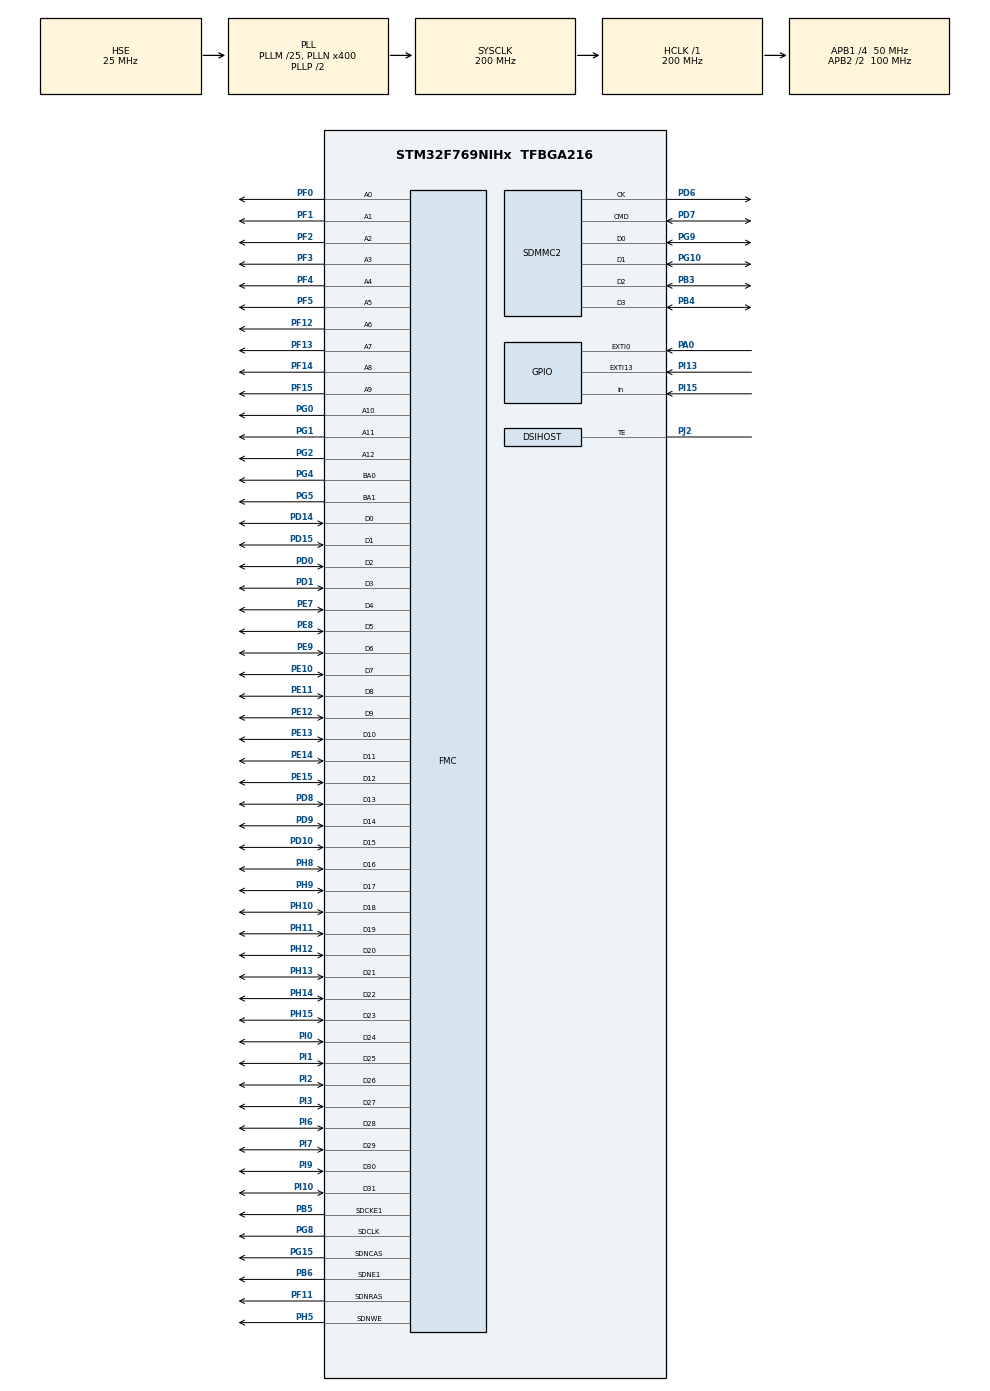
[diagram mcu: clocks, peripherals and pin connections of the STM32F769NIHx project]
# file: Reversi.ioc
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ADC1.Channel-0\#ChannelRegularConversion=ADC_CHANNEL_TEMPSENSOR
ADC1.ClockPrescaler=ADC_CLOCK_SYNC_PCLK_DIV8
ADC1.ContinuousConvMode=ENABLE
ADC1.NbrOfConversionFlag=1
ADC1.Rank-0\#ChannelRegularConversion=1
ADC1.SamplingTime-0\#ChannelRegularConversion=ADC_SAMPLETIME_56CYCLES
ADC1.master=1
CORTEX_M7.CPU_DCache=Enabled
CORTEX_M7.CPU_ICache=Enabled
DSIHOST_CKN.Mode=DSIHost_Adapted_TE
DSIHOST_CKN.Signal=DSIHOST_CKN
DSIHOST_CKP.Mode=DSIHost_Adapted_TE
DSIHOST_CKP.Signal=DSIHOST_CKP
DSIHOST_D0N.Mode=DSIHost_Adapted_TE
DSIHOST_D0N.Signal=DSIHOST_D0N
DSIHOST_D0P.Mode=DSIHost_Adapted_TE
DSIHOST_D0P.Signal=DSIHOST_D0P
DSIHOST_D1N.Mode=DSIHost_Adapted_TE
DSIHOST_D1N.Signal=DSIHOST_D1N
DSIHOST_D1P.Mode=DSIHost_Adapted_TE
DSIHOST_D1P.Signal=DSIHOST_D1P
FATFS.BSP.number=1
FATFS0.BSP.STBoard=false
FATFS0.BSP.api=Unknown
FATFS0.BSP.i2caddr=0
FATFS0.BSP.instance=PI15
FATFS0.BSP.ip=GPIO
FATFS0.BSP.mode=Input
FATFS0.BSP.name=Detect_SDIO
FATFS0.BSP.solution=PI15
Mcu.Family=STM32F7
Mcu.Name=STM32F769NIHx
Mcu.Package=TFBGA216
NVIC.ADC_IRQn=true\:0\:0\:false\:false\:true\:true\:true
NVIC.EXTI0_IRQn=true\:0\:0\:false\:false\:true\:true\:true
NVIC.EXTI15_10_IRQn=true\:0\:0\:false\:false\:true\:true\:true
NVIC.PriorityGroup=NVIC_PRIORITYGROUP_4
NVIC.TIM6_DAC_IRQn=true\:0\:0\:false\:false\:true\:true\:true
NVIC.TIM7_IRQn=true\:0\:0\:false\:false\:true\:true\:true
PA0/WKUP.Signal=GPXTI0
PB3.Mode=SD_4_bits_Wide_bus
PB3.Signal=SDMMC2_D2
PB4.Mode=SD_4_bits_Wide_bus
PB4.Signal=SDMMC2_D3
PB5.Mode=SdramChipSelect2_1
PB5.Signal=FMC_SDCKE1
PB6.Mode=SdramChipSelect2_1
PB6.Signal=FMC_SDNE1
PD0.Signal=FMC_D2_DA2
PD1.Signal=FMC_D3_DA3
PD10.Signal=FMC_D15_DA15
PD14.Signal=FMC_D0_DA0
PD15.Signal=FMC_D1_DA1
PD6.Mode=SD_4_bits_Wide_bus
PD6.Signal=SDMMC2_CK
PD7.Mode=SD_4_bits_Wide_bus
PD7.Signal=SDMMC2_CMD
PD8.Signal=FMC_D13_DA13
PD9.Signal=FMC_D14_DA14
PE10.Signal=FMC_D7_DA7
PE11.Signal=FMC_D8_DA8
PE12.Signal=FMC_D9_DA9
PE13.Signal=FMC_D10_DA10
PE14.Signal=FMC_D11_DA11
PE15.Signal=FMC_D12_DA12
PE7.Signal=FMC_D4_DA4
PE8.Signal=FMC_D5_DA5
PE9.Signal=FMC_D6_DA6
PF0.Signal=FMC_A0
PF1.Signal=FMC_A1
PF11.Signal=FMC_SDNRAS
PF12.Signal=FMC_A6
PF13.Signal=FMC_A7
PF14.Signal=FMC_A8
PF15.Signal=FMC_A9
PF2.Signal=FMC_A2
PF3.Signal=FMC_A3
PF4.Signal=FMC_A4
PF5.Signal=FMC_A5
PG0.Signal=FMC_A10
PG1.Signal=FMC_A11
PG10.Mode=SD_4_bits_Wide_bus
PG10.Signal=SDMMC2_D1
PG15.Signal=FMC_SDNCAS
PG2.Signal=FMC_A12
PG4.Signal=FMC_A14_BA0
PG5.Signal=FMC_A15_BA1
PG8.Signal=FMC_SDCLK
PG9.Mode=SD_4_bits_Wide_bus
PG9.Signal=SDMMC2_D0
PH0/OSC_IN.Mode=HSE-External-Oscillator
PH0/OSC_IN.Signal=RCC_OSC_IN
PH1/OSC_OUT.Mode=HSE-External-Oscillator
PH1/OSC_OUT.Signal=RCC_OSC_OUT
PH10.Signal=FMC_D18
PH11.Signal=FMC_D19
PH12.Signal=FMC_D20
PH13.Signal=FMC_D21
PH14.Signal=FMC_D22
PH15.Signal=FMC_D23
PH5.Signal=FMC_SDNWE
PH8.Signal=FMC_D16
PH9.Signal=FMC_D17
PI0.Signal=FMC_D24
PI1.Signal=FMC_D25
PI10.Signal=FMC_D31
PI13.Signal=GPXTI13
PI15.Signal=GPIO_Input
PI2.Signal=FMC_D26
PI3.Signal=FMC_D27
PI6.Signal=FMC_D28
PI7.Signal=FMC_D29
PI9.Signal=FMC_D30
PJ2.Mode=DSIHost_Adapted_TE
PJ2.Signal=DSIHOST_TE
ProjectManager.HeapSize=0x200
ProjectManager.StackSize=0x400
ProjectManager.TargetToolchain=STM32CubeIDE
RCC.AHBFreq_Value=200000000
RCC.APB1CLKDivider=RCC_HCLK_DIV4
RCC.APB1Freq_Value=50000000
RCC.APB1TimFreq_Value=100000000
RCC.APB2CLKDivider=RCC_HCLK_DIV2
RCC.APB2Freq_Value=100000000
RCC.APB2TimFreq_Value=200000000
RCC.CortexFreq_Value=200000000
RCC.HCLKFreq_Value=200000000
RCC.HSE_VALUE=25000000
RCC.HSI_VALUE=16000000
RCC.LSE_VALUE=32768
RCC.PLLI2SN=96
RCC.PLLM=25
RCC.PLLN=400
RCC.PLLQ=8
RCC.PLLR=7
RCC.PLLSourceVirtual=RCC_PLLSOURCE_HSE
RCC.SDMMC2ClockSelection=RCC_SDMMC2CLKSOURCE_CLK48
RCC.SYSCLKFreq_VALUE=200000000
RCC.SYSCLKSource=RCC_SYSCLKSOURCE_PLLCLK
RCC.USBFreq_Value=50000000
RCC.VCOOutputFreq_Value=400000000
SH.FMC_A0.0=FMC_A0,13b-sda1
SH.FMC_A1.0=FMC_A1,13b-sda1
SH.FMC_A10.0=FMC_A10,13b-sda1
SH.FMC_A11.0=FMC_A11,13b-sda1
SH.FMC_A12.0=FMC_A12,13b-sda1
SH.FMC_A14_BA0.0=FMC_BA0,FourSdramBanks1
SH.FMC_A15_BA1.0=FMC_BA1,FourSdramBanks1
SH.FMC_A2.0=FMC_A2,13b-sda1
SH.FMC_A3.0=FMC_A3,13b-sda1
SH.FMC_A4.0=FMC_A4,13b-sda1
SH.FMC_A5.0=FMC_A5,13b-sda1
SH.FMC_A6.0=FMC_A6,13b-sda1
SH.FMC_A7.0=FMC_A7,13b-sda1
SH.FMC_A8.0=FMC_A8,13b-sda1
SH.FMC_A9.0=FMC_A9,13b-sda1
SH.FMC_D0_DA0.0=FMC_D0,sd-32b-d1
SH.FMC_D10_DA10.0=FMC_D10,sd-32b-d1
SH.FMC_D11_DA11.0=FMC_D11,sd-32b-d1
SH.FMC_D12_DA12.0=FMC_D12,sd-32b-d1
SH.FMC_D13_DA13.0=FMC_D13,sd-32b-d1
SH.FMC_D14_DA14.0=FMC_D14,sd-32b-d1
SH.FMC_D15_DA15.0=FMC_D15,sd-32b-d1
SH.FMC_D16.0=FMC_D16,sd-32b-d1
SH.FMC_D17.0=FMC_D17,sd-32b-d1
SH.FMC_D18.0=FMC_D18,sd-32b-d1
SH.FMC_D19.0=FMC_D19,sd-32b-d1
SH.FMC_D1_DA1.0=FMC_D1,sd-32b-d1
SH.FMC_D20.0=FMC_D20,sd-32b-d1
SH.FMC_D21.0=FMC_D21,sd-32b-d1
SH.FMC_D22.0=FMC_D22,sd-32b-d1
SH.FMC_D23.0=FMC_D23,sd-32b-d1
SH.FMC_D24.0=FMC_D24,sd-32b-d1
SH.FMC_D25.0=FMC_D25,sd-32b-d1
SH.FMC_D26.0=FMC_D26,sd-32b-d1
SH.FMC_D27.0=FMC_D27,sd-32b-d1
SH.FMC_D28.0=FMC_D28,sd-32b-d1
SH.FMC_D29.0=FMC_D29,sd-32b-d1
SH.FMC_D2_DA2.0=FMC_D2,sd-32b-d1
SH.FMC_D30.0=FMC_D30,sd-32b-d1
SH.FMC_D31.0=FMC_D31,sd-32b-d1
SH.FMC_D3_DA3.0=FMC_D3,sd-32b-d1
SH.FMC_D4_DA4.0=FMC_D4,sd-32b-d1
SH.FMC_D5_DA5.0=FMC_D5,sd-32b-d1
SH.FMC_D6_DA6.0=FMC_D6,sd-32b-d1
SH.FMC_D7_DA7.0=FMC_D7,sd-32b-d1
SH.FMC_D8_DA8.0=FMC_D8,sd-32b-d1
SH.FMC_D9_DA9.0=FMC_D9,sd-32b-d1
SH.FMC_SDCLK.0=FMC_SDCLK,13b-sda1
SH.FMC_SDNCAS.0=FMC_SDNCAS,13b-sda1
SH.FMC_SDNRAS.0=FMC_SDNRAS,13b-sda1
SH.FMC_SDNWE.0=FMC_SDNWE,13b-sda1
TIM6.Period=9999
TIM6.Prescaler=19999
TIM7.Period=9999
TIM7.Prescaler=9999
VP_ADC1_TempSens_Input.Mode=IN-TempSens
VP_DMA2D_VS_DMA2D.Mode=DMA2D_Activate
VP_FATFS_VS_SDIO.Mode=SDIO
VP_LTDC_DSIMode.Mode=RGB888
VP_TIM6_VS_ClockSourceINT.Mode=Enable_Timer
VP_TIM7_VS_ClockSourceINT.Mode=Enable_Timer
board=STM32F769I-DISCO

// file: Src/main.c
/* USER CODE BEGIN Header */
/**
  ******************************************************************************
  * @file           : main.c
  * @brief          : Main program body
  ******************************************************************************
  * @attention
  *
  * <h2><center>&copy; Copyright (c) 2019 STMicroelectronics.
  * All rights reserved.</center></h2>
  *
  * This software component is licensed by ST under BSD 3-Clause license,
  * the "License"; You may not use this file except in compliance with the
  * License. You may obtain a copy of the License at:
  *                        opensource.org/licenses/BSD-3-Clause
  *
  ******************************************************************************
  */
/* USER CODE END Header */

#include "main.h"
#include "fatfs.h"

/* USER CODE BEGIN Includes */
#include "stm32f769i_discovery.h"
#include "stm32f769i_discovery_lcd.h"
#include "stm32f769i_discovery_ts.h"
#include "stdio.h"
#include "stm32f7xx_hal_adc.h"
#include "game.h"
#include "menu.h"
#include "string.h"
/* USER CODE END Includes */

/* USER CODE BEGIN PD */
#define VREF 3300
#define MAX_CONVERTED_VALUE 4095
#define VSENS_AT_AMBIENT_TEMP 760
#define AVG_SLOPE 25
#define AMBIENT_TEMP 25
#define BUTTON_INT PA0
#define x1Player 55
#define x2Players 550
#define xPlayerGame 250
#define y1Player 330
#define y2Players 330
#define yPlayerGame 180
#define width1Player 185
#define width2Players 185
#define widthPlayerGame 295
#define height1Player 65
#define height2Players 65
#define heightPlayerGame 70
#define backColor 0xFFAC7644
/* USER CODE END PD */

ADC_HandleTypeDef hadc1;
DMA2D_HandleTypeDef hdma2d;
DSI_HandleTypeDef hdsi;
LTDC_HandleTypeDef hltdc;
SD_HandleTypeDef hsd2;
TIM_HandleTypeDef htim6;
TIM_HandleTypeDef htim7;
SDRAM_HandleTypeDef hsdram1;

/* USER CODE BEGIN PV */
int ADC1value;
TS_StateTypeDef TS_State;
char auxStr[30];

uint8_t alreadyTouched=0;
uint8_t touchedX, touchedY;
uint8_t twoSecondsPass=0;
uint8_t numberPlayers = 2;
uint8_t counterTurn=20;
uint8_t passCounter1=0;
uint8_t passCounter2=0;
uint8_t counterMin = 0;

uint16_t touchedPosX, touchedPosY;
uint16_t counterGame=0;

char p1Name[30], p2Name [30];

// Fase 1 - main menu; fase 2 - juego; fase 3 - post juego
uint8_t programPhase = 1;
uint8_t resetPressed = 0;
uint8_t writeToFile = 0;

/* USER CODE END PV */

void SystemClock_Config(void);
static void MX_GPIO_Init(void);
static void MX_DMA2D_Init(void);
static void MX_FMC_Init(void);
static void MX_LTDC_Init(void);
static void MX_ADC1_Init(void);
static void MX_DSIHOST_DSI_Init(void);
static void MX_TIM6_Init(void);
static void MX_TIM7_Init(void);
static void MX_SDMMC2_SD_Init(void);
/* USER CODE BEGIN PFP */

static void LCD_Config(void);

/* USER CODE END PFP */

/* USER CODE BEGIN 0 */

//Interrupción del ADC
void HAL_ADC_ConvCpltCallback(ADC_HandleTypeDef* hadc)
{
	ADC1value = HAL_ADC_GetValue(hadc);//Va a guardar el valor convertido de ADC, esta int va a ser llamada cuando el ADC termina la conversión
}

//Interrupción generada por el botón y para el touch screen
void HAL_GPIO_EXTI_Callback(uint16_t GPIO_Pin)
{
	if(GPIO_Pin == GPIO_PIN_0)
	{
		resetPressed = 1;//flag que dice cargamos en el boton reset
		//programPhase = 1;//vuelve a la fase 1
		//touchedPosX = 0;
		//touchedPosY = 0;
	}

	if(GPIO_Pin == GPIO_PIN_13)
	{
		  BSP_TS_GetState(&TS_State);//funcion del sistema que va a obtener el estado del TS y lo va a guardar en el TS_State

		  if(TS_State.touchDetected >= 1 && alreadyTouched==0)
		  {
			  alreadyTouched=1;

			  // Lineas=Y; Columnas=X
			  // El tablero solo va estar entre 0 e 480 dividimos por 60 y va estar entre 0 e 7
			  if(TS_State.touchX[0] <= 480)
			  {
				  touchedX = TS_State.touchY[0]/60;
				  touchedY = TS_State.touchX[0]/60;
			  }
			  //guardamos la posición de 0 a 800(para el menú)
			  touchedPosX = TS_State.touchX[0];
			  touchedPosY = TS_State.touchY[0];

		  }
		  //protección toque continuo
		  else if(TS_State.touchDetected == 0)
		  {
			  alreadyTouched=0;
		  }
	}
}

//Interrupción de los timers
void HAL_TIM_PeriodElapsedCallback(TIM_HandleTypeDef *htim)
{
	if(htim->Instance == TIM6)//utilizado para saber cuando pasan 2 segundos
	{
		twoSecondsPass = 1;
	}
	else if(htim->Instance == TIM7)//utilizado para cada segundo
	{
		counterTurn--;
		counterGame++;
	}
}

void readPlayers(void)
{
	 HAL_ADC_Stop_IT(&hadc1);

	char string[100] = {'\0'};
	UINT nBytes;
	uint8_t i = 0;

	 if( f_mount (&SDFatFS, SDPath, 0)!=FR_OK)
		 Error_Handler();

	 if(f_open(&SDFile, "Read.txt", FA_READ)!=FR_OK)
		 Error_Handler();

	 if(f_read(&SDFile, string, sizeof(string), &nBytes) !=FR_OK)
		 Error_Handler();

	 // split strings: strtok no funciona como debe ser
	 // lo que esta a hacer es poner un \0 donde aparece el \r
	 strtok(string, "\r");//strtok deberia retornar un puntero para donde aparece el \r

	 strcpy(p1Name, string);

	 char *aux;
	 for(aux = string; *aux !='\0'; aux++);

	 // mover para despues del primer \0 y para despues del \n
	 aux++;
	 aux++;

	 strcpy(p2Name, aux);

	 f_close(&SDFile);

	  HAL_ADC_Start_IT(&hadc1);
}

//retorna 1 si tocamos dentro del rectangulo y 0 en caso contrario
uint8_t insideRectangle(uint16_t x, uint16_t y, uint16_t width, uint16_t height)
{
	if(touchedPosX >= x && touchedPosX <= x+width)
	{
		if(touchedPosY >= y && touchedPosY <= y+height)
		{
			return 1;
		}
	}

	return 0;

}

//función del menú de inicio, en ella vemos si el utilizador cargó dentro de algún rectangulo
void mainMenu(void)
{
	char tempStr1[10];

	if(insideRectangle(xPlayerGame, yPlayerGame, widthPlayerGame, heightPlayerGame)==1)
	{
    	BSP_LCD_Clear(LCD_COLOR_WHITE);

		readPlayers();

		if(numberPlayers == 1)
		{
			strcpy(p2Name, "ARM");
		}

		init_game(p1Name, p2Name);
		programPhase=2;
		counterGame = 0;
		passCounter1 = 0;
		passCounter2 = 0;
	}
	else if (insideRectangle(x1Player, y1Player, width1Player, height1Player)==1)
	{
		numberPlayers=1;

		BSP_LCD_SetTextColor(LCD_COLOR_BLACK);
		sprintf(tempStr1, "1 PLAYER");
		BSP_LCD_DisplayStringAt(80, 350, (uint8_t*) tempStr1, LEFT_MODE);

		BSP_LCD_SetTextColor(LCD_COLOR_WHITE);
		sprintf(tempStr1, "2 PLAYERS");
		BSP_LCD_DisplayStringAt(80, 350, (uint8_t*) tempStr1, RIGHT_MODE);

	}
	else if (insideRectangle(x2Players, y2Players, width2Players, height2Players)==1)
	{
		numberPlayers=2;

		BSP_LCD_SetTextColor(LCD_COLOR_WHITE);
		sprintf(tempStr1, "1 PLAYER");
		BSP_LCD_DisplayStringAt(80, 350, (uint8_t*) tempStr1, LEFT_MODE);

		BSP_LCD_SetTextColor(LCD_COLOR_BLACK);
		sprintf(tempStr1, "2 PLAYERS");
		BSP_LCD_DisplayStringAt(80, 350, (uint8_t*) tempStr1, RIGHT_MODE);
	}
}

//imprime el menú principal
void printMainMenu(void)
{
	BSP_LCD_SetBackColor(backColor);
	BSP_LCD_SetTextColor(LCD_COLOR_WHITE);

    BSP_LCD_DrawBitmap(0, 0, image);

	BSP_LCD_DisplayStringAt(0, 10, (uint8_t *)"REVERSI", CENTER_MODE);//funcion quiere uint8_t

	////////////////////////////////////
	//JUGAR JUEGO

	sprintf(auxStr, "PLAY GAME");
	BSP_LCD_DisplayStringAt(0, 200, (uint8_t*) auxStr, CENTER_MODE);

	////////////////////////////////////
	//1 JUGADOR

	sprintf(auxStr, "1 PLAYER");
	BSP_LCD_DisplayStringAt(80, 350, (uint8_t*) auxStr, LEFT_MODE);

	////////////////////////////////////
	//2 JUGADORES

	sprintf(auxStr, "2 PLAYERS");
	BSP_LCD_DisplayStringAt(80, 350, (uint8_t*) auxStr, RIGHT_MODE);
}

//función que imprime el tiempo de jugada y el tiempo total
void printTime(void)
{
	BSP_LCD_SetTextColor(LCD_COLOR_RED);
	BSP_LCD_SetBackColor(LCD_COLOR_WHITE);

	sprintf(auxStr, "Time remaining: %.2d", counterTurn);
	BSP_LCD_DisplayStringAt(3, LINE(18), (uint8_t*) auxStr, RIGHT_MODE);

	counterMin = counterGame/60;

	BSP_LCD_SetTextColor(LCD_COLOR_BLACK);
	BSP_LCD_SetBackColor(LCD_COLOR_WHITE);

	sprintf(auxStr, "Total time: %.2d:%.2d", counterMin, counterGame %60);//modulo de los segundos, que es el resto de la division entera
	BSP_LCD_DisplayStringAt(10, LINE(11), (uint8_t*) auxStr, RIGHT_MODE);
}

//función que imprime la temperatura en la pantalla actualizada cada dos segundos
void printTemperature(void)
{
	int temperature;

	if(twoSecondsPass == 1)
    {
	    temperature = ((((ADC1value * VREF)/MAX_CONVERTED_VALUE) - VSENS_AT_AMBIENT_TEMP) * 10 / AVG_SLOPE) + AMBIENT_TEMP;//convierte el valor de ADC para temperatura y lo guarda

	    // Display temperature on the lcd

	    BSP_LCD_SetTextColor(LCD_COLOR_BLACK);
	    BSP_LCD_SetBackColor(LCD_COLOR_WHITE);

    	sprintf(auxStr, "Temperature %d C", temperature);
	    BSP_LCD_DisplayStringAt(20, LINE(3), (uint8_t*) auxStr, RIGHT_MODE);

	    twoSecondsPass=0;
    }
}

//función importante del programa donde pasa todo el juego
uint8_t mainCycle(void)
{
    uint8_t playeri, playerj;
    uint8_t availablePosition[8*8], numAvailablePosition;

	////////////////////////////
	// Player 1

	uint8_t validPosition = 0;
	getAvailableMoves(1, availablePosition, &numAvailablePosition);//recibe el jugador, las posiciones disponibles y el numero de pos. disponibles

	if(numAvailablePosition == 0)
	{
		return 0;// 0 significa que no hay posiciones disponibles
	}

	sprintf(auxStr, "%s Turn", p1Name);
	BSP_LCD_DisplayStringAt(45, LINE(17), (uint8_t*) auxStr, RIGHT_MODE);
	counterTurn = 20;

	while (validPosition == 0)//mientras la posicion del usuario no fuera valida permanece en el while
	{
		printTime();
		  if(insideRectangle(x2Players, y2Players, width2Players, height2Players)==1)
		  {
				counterTurn = 20;
				touchedPosX = 0;
				touchedPosY=0;
		  }
		printTemperature();

		if(counterTurn == 0)
		{
			passCounter1++;

			if(passCounter1 == 3)
			{
				return 1;//para ser diferente a 0, sale debido a que ya pasó 3 turnos
			}

			break;//cuando pasa un turno sale del ciclo while para continuar para el jugador 2
		}

		if(resetPressed == 1)//en caso de presionar el boton del reset sale de la función
		{
			  resetPressed = 0;
			  break;
		}

		// VER POSICION EN LA TOUCH SCREEN
		playeri = touchedX;//ahora son lineas, cambiamos arriba
		playerj = touchedY;//columnas

		validPosition = insertMove(playeri, playerj, 1, availablePosition, numAvailablePosition);//si consigue insertar validPosition es 1, en caso contrario es 0
	}

	printInfo(p1Name, p2Name);
	printBoard();//vuelve a imprimir el tablero

	////////////////////////////
	// Player 2

	validPosition = 0;
	counterTurn = 20;
	getAvailableMoves(2, availablePosition, &numAvailablePosition);

	if(numAvailablePosition == 0)
	{
		return 0;
	}

	sprintf(auxStr, "%s Turn", p2Name);
	BSP_LCD_DisplayStringAt(45, LINE(17), (uint8_t*) auxStr, RIGHT_MODE);

	while (validPosition == 0)
	{
		printTime();
		  if(insideRectangle(x2Players, y2Players, width2Players, height2Players)==1)
		  {
				counterTurn = 20;
				touchedPosX = 0;
				touchedPosY=0;
		  }
		printTemperature();

		if(counterTurn == 0)
		{
			passCounter2++;

			if(passCounter2 == 3)
			{
				return 1;
			}

			break;
		}

		if(resetPressed == 1)
		{
			  resetPressed = 0;
			  break;
		}

		if(numberPlayers == 2)
		{
			playeri = touchedX;
			playerj = touchedY;
		}
		else // AI player
		{
			HAL_Delay(1000);
			uint8_t selectedPosition = availablePosition[0];

			//convierte selectedPosition en dos posiciones, linea y columna (de 0 a 7)
			playeri = (selectedPosition / 10) - 1;//la función insertMove requiere los parametros separados
			playerj = (selectedPosition % 10) - 1;

		}

		validPosition = insertMove(playeri, playerj, 2, availablePosition, numAvailablePosition);
	}

	printInfo(p1Name, p2Name);
	printBoard();//vuelve a imprimir el tablero

	return numAvailablePosition;
}

/* USER CODE END 0 */

int main(void)
{
  /* USER CODE BEGIN 1 */
  uint8_t player1Counter, player2Counter;
  uint8_t winner;
  uint nBytes;

  /* USER CODE END 1 */

  /* Enable I-Cache---------------------------------------------------------*/
  SCB_EnableICache();

  /* Enable D-Cache---------------------------------------------------------*/
  SCB_EnableDCache();

  /* MCU Configuration--------------------------------------------------------*/

  /* Reset of all peripherals, Initializes the Flash interface and the Systick. */
  HAL_Init();

  /* Configure the system clock */
  SystemClock_Config();

  /* Initialize all configured peripherals */
  MX_GPIO_Init();
  MX_DMA2D_Init();
  MX_FMC_Init();
  MX_LTDC_Init();
  MX_ADC1_Init();
  MX_DSIHOST_DSI_Init();
  MX_TIM6_Init();
  MX_TIM7_Init();
  MX_SDMMC2_SD_Init();
  MX_FATFS_Init();
  /* USER CODE BEGIN 2 */
  LCD_Config();
  HAL_ADC_Start_IT(&hadc1);
  BSP_TS_Init(BSP_LCD_GetXSize(), BSP_LCD_GetYSize());
  BSP_TS_ITConfig();
  HAL_TIM_Base_Start_IT(&htim6);
  HAL_TIM_Base_Start_IT(&htim7);
 // BSP_PB_Init(BUTTON_INT, BUTTON_MODE_EXTI);

  /* USER CODE END 2 */

  /* Infinite loop */
  while (1)
  {

    /* USER CODE BEGIN 3 */

	  if(programPhase == 1)
	  {

		  mainMenu();//llamamos a esta función para ver si la persona carga en algún sitio
	  }
	  if(programPhase == 2)
	  {
		  ////////////////////////////////////
		  // TOUCH SCREEN

		  if(mainCycle() == 0)//No más movimientos
		  {

			  BSP_LCD_SetTextColor(LCD_COLOR_RED);
			  BSP_LCD_SetBackColor(LCD_COLOR_WHITE);

			  sprintf(auxStr, "GAME OVER!");
			  BSP_LCD_DisplayStringAt(65, LINE(14), (uint8_t*) auxStr, RIGHT_MODE);

			  BSP_LCD_SetTextColor(LCD_COLOR_BLACK);

			  countPieces(&player1Counter, &player2Counter);
			  if(player1Counter > player2Counter)
			  {
				 winner = 1;
				 sprintf(auxStr, "Winner = %s", p1Name);

			  }
			  else if(player1Counter < player2Counter)
			  {
				 winner= 2;
				 sprintf(auxStr,  "Winner = %s", p2Name);
			  }
			  else if(player1Counter == player2Counter)
			  {
				  winner=0;
				  sprintf(auxStr, "It's a tie");
			  }

			  BSP_LCD_DisplayStringAt(10, LINE(15), (uint8_t*) auxStr, RIGHT_MODE);

			  programPhase=3;
			  writeToFile = 1;
		  }

		  if(passCounter1 == 3)
		  {
			  sprintf(auxStr, "GAME OVER!");
			  BSP_LCD_DisplayStringAt(65, LINE(14), (uint8_t*) auxStr, RIGHT_MODE);
			  sprintf(auxStr,  "Winner = %s", p2Name);
			  BSP_LCD_DisplayStringAt(10, LINE(15), (uint8_t*) auxStr, RIGHT_MODE);

			  winner = 2;
			  programPhase = 3;
			  writeToFile = 1;
		  }
		  else if(passCounter2 == 3)
		  {
			  sprintf(auxStr, "GAME OVER!");
			  BSP_LCD_DisplayStringAt(65, LINE(14), (uint8_t*) auxStr, RIGHT_MODE);
			  sprintf(auxStr,  "Winner = %s", p1Name);
			  BSP_LCD_DisplayStringAt(10, LINE(15), (uint8_t*) auxStr, RIGHT_MODE);

			  winner = 1;
			  programPhase =3;
			  writeToFile = 1;
		  }
	   }

	  if(programPhase==3)
	  {
		  printTemperature();

		  if(writeToFile == 1)//para no estar siempre escribiendo en el fichero
		  {
			 writeToFile = 0;

			 // Desacctivación de la interrupción ADC para poder escribir en el SD card
			  HAL_ADC_Stop_IT(&hadc1);

			 char auxStr2[150];

			 FRESULT res;

			  res = f_mount (&SDFatFS, SDPath, 0);
		      if(res != FR_OK)
			  {
				sprintf(auxStr, "Error in fmount: %d", res);
				Error_Handler();
				break;
			  }

		      res = f_open(&SDFile, "Rev.txt", FA_CREATE_ALWAYS | FA_WRITE);
			  if(res != FR_OK)
			  {
				sprintf(auxStr, "Error in fopen: %d", res);
				Error_Handler();
				break;
			  }

			  if(winner == 1)
			  {
				  sprintf(auxStr2, "Winner = %s\nPieces %s = %.2d\nPieces %s = %.2d\nTotal time: %.2d:%.2d\n", p1Name, p1Name, player1Counter, p2Name, player2Counter, counterMin, counterGame %60);
			  }
			  else if( winner == 2)
			  {
				  sprintf(auxStr2, "Winner = %s\nPieces %s = %.2d\nPieces %s = %.2d\nTotal time: %.2d:%.2d\n", p2Name, p1Name, player1Counter, p2Name, player2Counter, counterMin, counterGame %60);
			  }
			  else if(winner == 0)
			  {
				  sprintf(auxStr2, "It's a tie\nPieces %s = %.2d\nPieces %s = %.2d\nTotal time: %.2d:%.2d\n",  p1Name, player1Counter, p2Name, player2Counter, counterMin, counterGame %60);
		      }

			  res = f_write(&SDFile, auxStr2, strlen(auxStr2), &nBytes);
			  if(res != FR_OK)
			  {
				sprintf(auxStr, "Error in fwrite: %d", res);
				Error_Handler();
				break;
			  }

			  res = f_close(&SDFile);
			  if(res != FR_OK)
			  {
				sprintf(auxStr, "Error in fclose: %d", res);
				Error_Handler();
				break;
			  }

			  // Activación interrupción ADC
			 HAL_ADC_Start_IT(&hadc1);
		  }
	  }
  }
  /* USER CODE END 3 */
}

void SystemClock_Config(void)
{
  RCC_OscInitTypeDef RCC_OscInitStruct = {0};
  RCC_ClkInitTypeDef RCC_ClkInitStruct = {0};
  RCC_PeriphCLKInitTypeDef PeriphClkInitStruct = {0};

  /** Configure the main internal regulator output voltage
  */
  __HAL_RCC_PWR_CLK_ENABLE();
  __HAL_PWR_VOLTAGESCALING_CONFIG(PWR_REGULATOR_VOLTAGE_SCALE1);
  /** Initializes the CPU, AHB and APB busses clocks
  */
  RCC_OscInitStruct.OscillatorType = RCC_OSCILLATORTYPE_HSE;
  RCC_OscInitStruct.HSEState = RCC_HSE_ON;
  RCC_OscInitStruct.PLL.PLLState = RCC_PLL_ON;
  RCC_OscInitStruct.PLL.PLLSource = RCC_PLLSOURCE_HSE;
  RCC_OscInitStruct.PLL.PLLM = 25;
  RCC_OscInitStruct.PLL.PLLN = 400;
  RCC_OscInitStruct.PLL.PLLP = RCC_PLLP_DIV2;
  RCC_OscInitStruct.PLL.PLLQ = 8;
  if (HAL_RCC_OscConfig(&RCC_OscInitStruct) != HAL_OK)
  {
    Error_Handler();
  }
  /** Activate the Over-Drive mode
  */
  if (HAL_PWREx_EnableOverDrive() != HAL_OK)
  {
    Error_Handler();
  }
  /** Initializes the CPU, AHB and APB busses clocks
  */
  RCC_ClkInitStruct.ClockType = RCC_CLOCKTYPE_HCLK|RCC_CLOCKTYPE_SYSCLK
                              |RCC_CLOCKTYPE_PCLK1|RCC_CLOCKTYPE_PCLK2;
  RCC_ClkInitStruct.SYSCLKSource = RCC_SYSCLKSOURCE_PLLCLK;
  RCC_ClkInitStruct.AHBCLKDivider = RCC_SYSCLK_DIV1;
  RCC_ClkInitStruct.APB1CLKDivider = RCC_HCLK_DIV4;
  RCC_ClkInitStruct.APB2CLKDivider = RCC_HCLK_DIV2;

  if (HAL_RCC_ClockConfig(&RCC_ClkInitStruct, FLASH_LATENCY_6) != HAL_OK)
  {
    Error_Handler();
  }
  PeriphClkInitStruct.PeriphClockSelection = RCC_PERIPHCLK_LTDC|RCC_PERIPHCLK_SDMMC2
                              |RCC_PERIPHCLK_CLK48;
  PeriphClkInitStruct.PLLSAI.PLLSAIN = 192;
  PeriphClkInitStruct.PLLSAI.PLLSAIR = 2;
  PeriphClkInitStruct.PLLSAI.PLLSAIQ = 2;
  PeriphClkInitStruct.PLLSAI.PLLSAIP = RCC_PLLSAIP_DIV2;
  PeriphClkInitStruct.PLLSAIDivQ = 1;
  PeriphClkInitStruct.PLLSAIDivR = RCC_PLLSAIDIVR_2;
  PeriphClkInitStruct.Clk48ClockSelection = RCC_CLK48SOURCE_PLL;
  PeriphClkInitStruct.Sdmmc2ClockSelection = RCC_SDMMC2CLKSOURCE_CLK48;
  if (HAL_RCCEx_PeriphCLKConfig(&PeriphClkInitStruct) != HAL_OK)
  {
    Error_Handler();
  }
}

static void MX_ADC1_Init(void)
{

  ADC_ChannelConfTypeDef sConfig = {0};

  /** Configure the global features of the ADC (Clock, Resolution, Data Alignment and number of conversion)
  */
  hadc1.Instance = ADC1;
  hadc1.Init.ClockPrescaler = ADC_CLOCK_SYNC_PCLK_DIV8;
  hadc1.Init.Resolution = ADC_RESOLUTION_12B;
  hadc1.Init.ScanConvMode = DISABLE;
  hadc1.Init.ContinuousConvMode = ENABLE;
  hadc1.Init.DiscontinuousConvMode = DISABLE;
  hadc1.Init.ExternalTrigConvEdge = ADC_EXTERNALTRIGCONVEDGE_NONE;
  hadc1.Init.ExternalTrigConv = ADC_SOFTWARE_START;
  hadc1.Init.DataAlign = ADC_DATAALIGN_RIGHT;
  hadc1.Init.NbrOfConversion = 1;
  hadc1.Init.DMAContinuousRequests = DISABLE;
  hadc1.Init.EOCSelection = ADC_EOC_SINGLE_CONV;
  if (HAL_ADC_Init(&hadc1) != HAL_OK)
  {
    Error_Handler();
  }
  /** Configure for the selected ADC regular channel its corresponding rank in the sequencer and its sample time.
  */
  sConfig.Channel = ADC_CHANNEL_TEMPSENSOR;
  sConfig.Rank = ADC_REGULAR_RANK_1;
  sConfig.SamplingTime = ADC_SAMPLETIME_56CYCLES;
  if (HAL_ADC_ConfigChannel(&hadc1, &sConfig) != HAL_OK)
  {
    Error_Handler();
  }

}

static void MX_DMA2D_Init(void)
{

  hdma2d.Instance = DMA2D;
  hdma2d.Init.Mode = DMA2D_M2M;
  hdma2d.Init.ColorMode = DMA2D_OUTPUT_ARGB8888;
  hdma2d.Init.OutputOffset = 0;
  hdma2d.LayerCfg[1].InputOffset = 0;
  hdma2d.LayerCfg[1].InputColorMode = DMA2D_INPUT_ARGB8888;
  hdma2d.LayerCfg[1].AlphaMode = DMA2D_NO_MODIF_ALPHA;
  hdma2d.LayerCfg[1].InputAlpha = 0;
  hdma2d.LayerCfg[1].AlphaInverted = DMA2D_REGULAR_ALPHA;
  hdma2d.LayerCfg[1].RedBlueSwap = DMA2D_RB_REGULAR;
  if (HAL_DMA2D_Init(&hdma2d) != HAL_OK)
  {
    Error_Handler();
  }
  if (HAL_DMA2D_ConfigLayer(&hdma2d, 1) != HAL_OK)
  {
    Error_Handler();
  }

}

static void MX_DSIHOST_DSI_Init(void)
{

  DSI_PLLInitTypeDef PLLInit = {0};
  DSI_HOST_TimeoutTypeDef HostTimeouts = {0};
  DSI_PHY_TimerTypeDef PhyTimings = {0};
  DSI_LPCmdTypeDef LPCmd = {0};
  DSI_CmdCfgTypeDef CmdCfg = {0};

  hdsi.Instance = DSI;
  hdsi.Init.AutomaticClockLaneControl = DSI_AUTO_CLK_LANE_CTRL_DISABLE;
  hdsi.Init.TXEscapeCkdiv = 4;
  hdsi.Init.NumberOfLanes = DSI_ONE_DATA_LANE;
  PLLInit.PLLNDIV = 20;
  PLLInit.PLLIDF = DSI_PLL_IN_DIV1;
  PLLInit.PLLODF = DSI_PLL_OUT_DIV1;
  if (HAL_DSI_Init(&hdsi, &PLLInit) != HAL_OK)
  {
    Error_Handler();
  }
  HostTimeouts.TimeoutCkdiv = 1;
  HostTimeouts.HighSpeedTransmissionTimeout = 0;
  HostTimeouts.LowPowerReceptionTimeout = 0;
  HostTimeouts.HighSpeedReadTimeout = 0;
  HostTimeouts.LowPowerReadTimeout = 0;
  HostTimeouts.HighSpeedWriteTimeout = 0;
  HostTimeouts.HighSpeedWritePrespMode = DSI_HS_PM_DISABLE;
  HostTimeouts.LowPowerWriteTimeout = 0;
  HostTimeouts.BTATimeout = 0;
  if (HAL_DSI_ConfigHostTimeouts(&hdsi, &HostTimeouts) != HAL_OK)
  {
    Error_Handler();
  }
  PhyTimings.ClockLaneHS2LPTime = 28;
  PhyTimings.ClockLaneLP2HSTime = 33;
  PhyTimings.DataLaneHS2LPTime = 15;
  PhyTimings.DataLaneLP2HSTime = 25;
  PhyTimings.DataLaneMaxReadTime = 0;
  PhyTimings.StopWaitTime = 0;
  if (HAL_DSI_ConfigPhyTimer(&hdsi, &PhyTimings) != HAL_OK)
  {
    Error_Handler();
  }
  if (HAL_DSI_ConfigFlowControl(&hdsi, DSI_FLOW_CONTROL_BTA) != HAL_OK)
  {
    Error_Handler();
  }
  if (HAL_DSI_SetLowPowerRXFilter(&hdsi, 10000) != HAL_OK)
  {
    Error_Handler();
  }
  if (HAL_DSI_ConfigErrorMonitor(&hdsi, HAL_DSI_ERROR_NONE) != HAL_OK)
  {
    Error_Handler();
  }
  LPCmd.LPGenShortWriteNoP = DSI_LP_GSW0P_DISABLE;
  LPCmd.LPGenShortWriteOneP = DSI_LP_GSW1P_DISABLE;
  LPCmd.LPGenShortWriteTwoP = DSI_LP_GSW2P_DISABLE;
  LPCmd.LPGenShortReadNoP = DSI_LP_GSR0P_DISABLE;
  LPCmd.LPGenShortReadOneP = DSI_LP_GSR1P_DISABLE;
  LPCmd.LPGenShortReadTwoP = DSI_LP_GSR2P_DISABLE;
  LPCmd.LPGenLongWrite = DSI_LP_GLW_DISABLE;
  LPCmd.LPDcsShortWriteNoP = DSI_LP_DSW0P_DISABLE;
  LPCmd.LPDcsShortWriteOneP = DSI_LP_DSW1P_DISABLE;
  LPCmd.LPDcsShortReadNoP = DSI_LP_DSR0P_DISABLE;
  LPCmd.LPDcsLongWrite = DSI_LP_DLW_DISABLE;
  LPCmd.LPMaxReadPacket = DSI_LP_MRDP_DISABLE;
  LPCmd.AcknowledgeRequest = DSI_ACKNOWLEDGE_DISABLE;
  if (HAL_DSI_ConfigCommand(&hdsi, &LPCmd) != HAL_OK)
  {
    Error_Handler();
  }
  CmdCfg.VirtualChannelID = 0;
  CmdCfg.ColorCoding = DSI_RGB888;
  CmdCfg.CommandSize = 640;
  CmdCfg.TearingEffectSource = DSI_TE_EXTERNAL;
  CmdCfg.TearingEffectPolarity = DSI_TE_RISING_EDGE;
  CmdCfg.HSPolarity = DSI_HSYNC_ACTIVE_LOW;
  CmdCfg.VSPolarity = DSI_VSYNC_ACTIVE_LOW;
  CmdCfg.DEPolarity = DSI_DATA_ENABLE_ACTIVE_HIGH;
  CmdCfg.VSyncPol = DSI_VSYNC_FALLING;
  CmdCfg.AutomaticRefresh = DSI_AR_ENABLE;
  CmdCfg.TEAcknowledgeRequest = DSI_TE_ACKNOWLEDGE_DISABLE;
  if (HAL_DSI_ConfigAdaptedCommandMode(&hdsi, &CmdCfg) != HAL_OK)
  {
    Error_Handler();
  }
  if (HAL_DSI_SetGenericVCID(&hdsi, 0) != HAL_OK)
  {
    Error_Handler();
  }

}

static void MX_LTDC_Init(void)
{

  LTDC_LayerCfgTypeDef pLayerCfg = {0};
  LTDC_LayerCfgTypeDef pLayerCfg1 = {0};

  hltdc.Instance = LTDC;
  hltdc.Init.HSPolarity = LTDC_HSPOLARITY_AL;
  hltdc.Init.VSPolarity = LTDC_VSPOLARITY_AL;
  hltdc.Init.DEPolarity = LTDC_DEPOLARITY_AL;
  hltdc.Init.PCPolarity = LTDC_PCPOLARITY_IPC;
  hltdc.Init.HorizontalSync = 7;
  hltdc.Init.VerticalSync = 3;
  hltdc.Init.AccumulatedHBP = 14;
  hltdc.Init.AccumulatedVBP = 5;
  hltdc.Init.AccumulatedActiveW = 654;
  hltdc.Init.AccumulatedActiveH = 485;
  hltdc.Init.TotalWidth = 660;
  hltdc.Init.TotalHeigh = 487;
  hltdc.Init.Backcolor.Blue = 0;
  hltdc.Init.Backcolor.Green = 0;
  hltdc.Init.Backcolor.Red = 0;
  if (HAL_LTDC_Init(&hltdc) != HAL_OK)
  {
    Error_Handler();
  }
  pLayerCfg.WindowX0 = 0;
  pLayerCfg.WindowX1 = 0;
  pLayerCfg.WindowY0 = 0;
  pLayerCfg.WindowY1 = 0;
  pLayerCfg.PixelFormat = LTDC_PIXEL_FORMAT_ARGB8888;
  pLayerCfg.Alpha = 0;
  pLayerCfg.Alpha0 = 0;
  pLayerCfg.BlendingFactor1 = LTDC_BLENDING_FACTOR1_CA;
  pLayerCfg.BlendingFactor2 = LTDC_BLENDING_FACTOR2_CA;
  pLayerCfg.FBStartAdress = 0;
  pLayerCfg.ImageWidth = 0;
  pLayerCfg.ImageHeight = 0;
  pLayerCfg.Backcolor.Blue = 0;
  pLayerCfg.Backcolor.Green = 0;
  pLayerCfg.Backcolor.Red = 0;
  if (HAL_LTDC_ConfigLayer(&hltdc, &pLayerCfg, 0) != HAL_OK)
  {
    Error_Handler();
  }
  pLayerCfg1.WindowX0 = 0;
  pLayerCfg1.WindowX1 = 0;
  pLayerCfg1.WindowY0 = 0;
  pLayerCfg1.WindowY1 = 0;
  pLayerCfg1.PixelFormat = LTDC_PIXEL_FORMAT_ARGB8888;
  pLayerCfg1.Alpha = 0;
  pLayerCfg1.Alpha0 = 0;
  pLayerCfg1.BlendingFactor1 = LTDC_BLENDING_FACTOR1_CA;
  pLayerCfg1.BlendingFactor2 = LTDC_BLENDING_FACTOR2_CA;
  pLayerCfg1.FBStartAdress = 0;
  pLayerCfg1.ImageWidth = 0;
  pLayerCfg1.ImageHeight = 0;
  pLayerCfg1.Backcolor.Blue = 0;
  pLayerCfg1.Backcolor.Green = 0;
  pLayerCfg1.Backcolor.Red = 0;
  if (HAL_LTDC_ConfigLayer(&hltdc, &pLayerCfg1, 1) != HAL_OK)
  {
    Error_Handler();
  }

}

static void MX_SDMMC2_SD_Init(void)
{

  hsd2.Instance = SDMMC2;
  hsd2.Init.ClockEdge = SDMMC_CLOCK_EDGE_RISING;
  hsd2.Init.ClockBypass = SDMMC_CLOCK_BYPASS_DISABLE;
  hsd2.Init.ClockPowerSave = SDMMC_CLOCK_POWER_SAVE_DISABLE;
  hsd2.Init.BusWide = SDMMC_BUS_WIDE_1B;
  hsd2.Init.HardwareFlowControl = SDMMC_HARDWARE_FLOW_CONTROL_DISABLE;
  hsd2.Init.ClockDiv = 0;

}

static void MX_TIM6_Init(void)
{

  TIM_MasterConfigTypeDef sMasterConfig = {0};

  htim6.Instance = TIM6;
  htim6.Init.Prescaler = 19999;
  htim6.Init.CounterMode = TIM_COUNTERMODE_UP;
  htim6.Init.Period = 9999;
  htim6.Init.AutoReloadPreload = TIM_AUTORELOAD_PRELOAD_DISABLE;
  if (HAL_TIM_Base_Init(&htim6) != HAL_OK)
  {
    Error_Handler();
  }
  sMasterConfig.MasterOutputTrigger = TIM_TRGO_RESET;
  sMasterConfig.MasterSlaveMode = TIM_MASTERSLAVEMODE_DISABLE;
  if (HAL_TIMEx_MasterConfigSynchronization(&htim6, &sMasterConfig) != HAL_OK)
  {
    Error_Handler();
  }

}

static void MX_TIM7_Init(void)
{

  TIM_MasterConfigTypeDef sMasterConfig = {0};

  htim7.Instance = TIM7;
  htim7.Init.Prescaler = 9999;
  htim7.Init.CounterMode = TIM_COUNTERMODE_UP;
  htim7.Init.Period = 9999;
  htim7.Init.AutoReloadPreload = TIM_AUTORELOAD_PRELOAD_DISABLE;
  if (HAL_TIM_Base_Init(&htim7) != HAL_OK)
  {
    Error_Handler();
  }
  sMasterConfig.MasterOutputTrigger = TIM_TRGO_RESET;
  sMasterConfig.MasterSlaveMode = TIM_MASTERSLAVEMODE_DISABLE;
  if (HAL_TIMEx_MasterConfigSynchronization(&htim7, &sMasterConfig) != HAL_OK)
  {
    Error_Handler();
  }

}

/* FMC initialization function */
static void MX_FMC_Init(void)
{

  FMC_SDRAM_TimingTypeDef SdramTiming = {0};

  /** Perform the SDRAM1 memory initialization sequence
  */
  hsdram1.Instance = FMC_SDRAM_DEVICE;
  /* hsdram1.Init */
  hsdram1.Init.SDBank = FMC_SDRAM_BANK2;
  hsdram1.Init.ColumnBitsNumber = FMC_SDRAM_COLUMN_BITS_NUM_8;
  hsdram1.Init.RowBitsNumber = FMC_SDRAM_ROW_BITS_NUM_13;
  hsdram1.Init.MemoryDataWidth = FMC_SDRAM_MEM_BUS_WIDTH_32;
  hsdram1.Init.InternalBankNumber = FMC_SDRAM_INTERN_BANKS_NUM_4;
  hsdram1.Init.CASLatency = FMC_SDRAM_CAS_LATENCY_1;
  hsdram1.Init.WriteProtection = FMC_SDRAM_WRITE_PROTECTION_DISABLE;
  hsdram1.Init.SDClockPeriod = FMC_SDRAM_CLOCK_DISABLE;
  hsdram1.Init.ReadBurst = FMC_SDRAM_RBURST_DISABLE;
  hsdram1.Init.ReadPipeDelay = FMC_SDRAM_RPIPE_DELAY_0;
  /* SdramTiming */
  SdramTiming.LoadToActiveDelay = 16;
  SdramTiming.ExitSelfRefreshDelay = 16;
  SdramTiming.SelfRefreshTime = 16;
  SdramTiming.RowCycleDelay = 16;
  SdramTiming.WriteRecoveryTime = 16;
  SdramTiming.RPDelay = 16;
  SdramTiming.RCDDelay = 16;

  if (HAL_SDRAM_Init(&hsdram1, &SdramTiming) != HAL_OK)
  {
    Error_Handler( );
  }

}

static void MX_GPIO_Init(void)
{
  GPIO_InitTypeDef GPIO_InitStruct = {0};

  /* GPIO Ports Clock Enable */
  __HAL_RCC_GPIOB_CLK_ENABLE();
  __HAL_RCC_GPIOD_CLK_ENABLE();
  __HAL_RCC_GPIOG_CLK_ENABLE();
  __HAL_RCC_GPIOI_CLK_ENABLE();
  __HAL_RCC_GPIOF_CLK_ENABLE();
  __HAL_RCC_GPIOH_CLK_ENABLE();
  __HAL_RCC_GPIOA_CLK_ENABLE();
  __HAL_RCC_GPIOE_CLK_ENABLE();
  __HAL_RCC_GPIOJ_CLK_ENABLE();

  /*Configure GPIO pin : PI13 */
  GPIO_InitStruct.Pin = GPIO_PIN_13;
  GPIO_InitStruct.Mode = GPIO_MODE_IT_RISING;
  GPIO_InitStruct.Pull = GPIO_NOPULL;
  HAL_GPIO_Init(GPIOI, &GPIO_InitStruct);

  /*Configure GPIO pin : PI15 */
  GPIO_InitStruct.Pin = GPIO_PIN_15;
  GPIO_InitStruct.Mode = GPIO_MODE_INPUT;
  GPIO_InitStruct.Pull = GPIO_NOPULL;
  HAL_GPIO_Init(GPIOI, &GPIO_InitStruct);

  /*Configure GPIO pin : PA0 */
  GPIO_InitStruct.Pin = GPIO_PIN_0;
  GPIO_InitStruct.Mode = GPIO_MODE_IT_RISING;
  GPIO_InitStruct.Pull = GPIO_NOPULL;
  HAL_GPIO_Init(GPIOA, &GPIO_InitStruct);

  /* EXTI interrupt init*/
  HAL_NVIC_SetPriority(EXTI0_IRQn, 0, 0);
  HAL_NVIC_EnableIRQ(EXTI0_IRQn);

  HAL_NVIC_SetPriority(EXTI15_10_IRQn, 0, 0);
  HAL_NVIC_EnableIRQ(EXTI15_10_IRQn);

}

/* USER CODE BEGIN 4 */
static void LCD_Config(void)
{
  uint32_t  lcd_status;

  /* Initialize the LCD */
  lcd_status = BSP_LCD_Init();
  while(lcd_status != LCD_OK);//si LCD_init no fuera ok estaría en ciclo infinito

  BSP_LCD_LayerDefaultInit(0, LCD_FB_START_ADDRESS);

  /* Clear the LCD */
  BSP_LCD_Clear(LCD_COLOR_WHITE);

  printMainMenu();
}

/* USER CODE END 4 */

void Error_Handler(void)
{
  /* USER CODE BEGIN Error_Handler_Debug */
  /* User can add his own implementation to report the HAL error return state */
	BSP_LCD_DisplayStringAt(10, LINE(15), (uint8_t*) auxStr, CENTER_MODE);

  /* USER CODE END Error_Handler_Debug */
}

/************************ (C) COPYRIGHT STMicroelectronics *****END OF FILE****/
